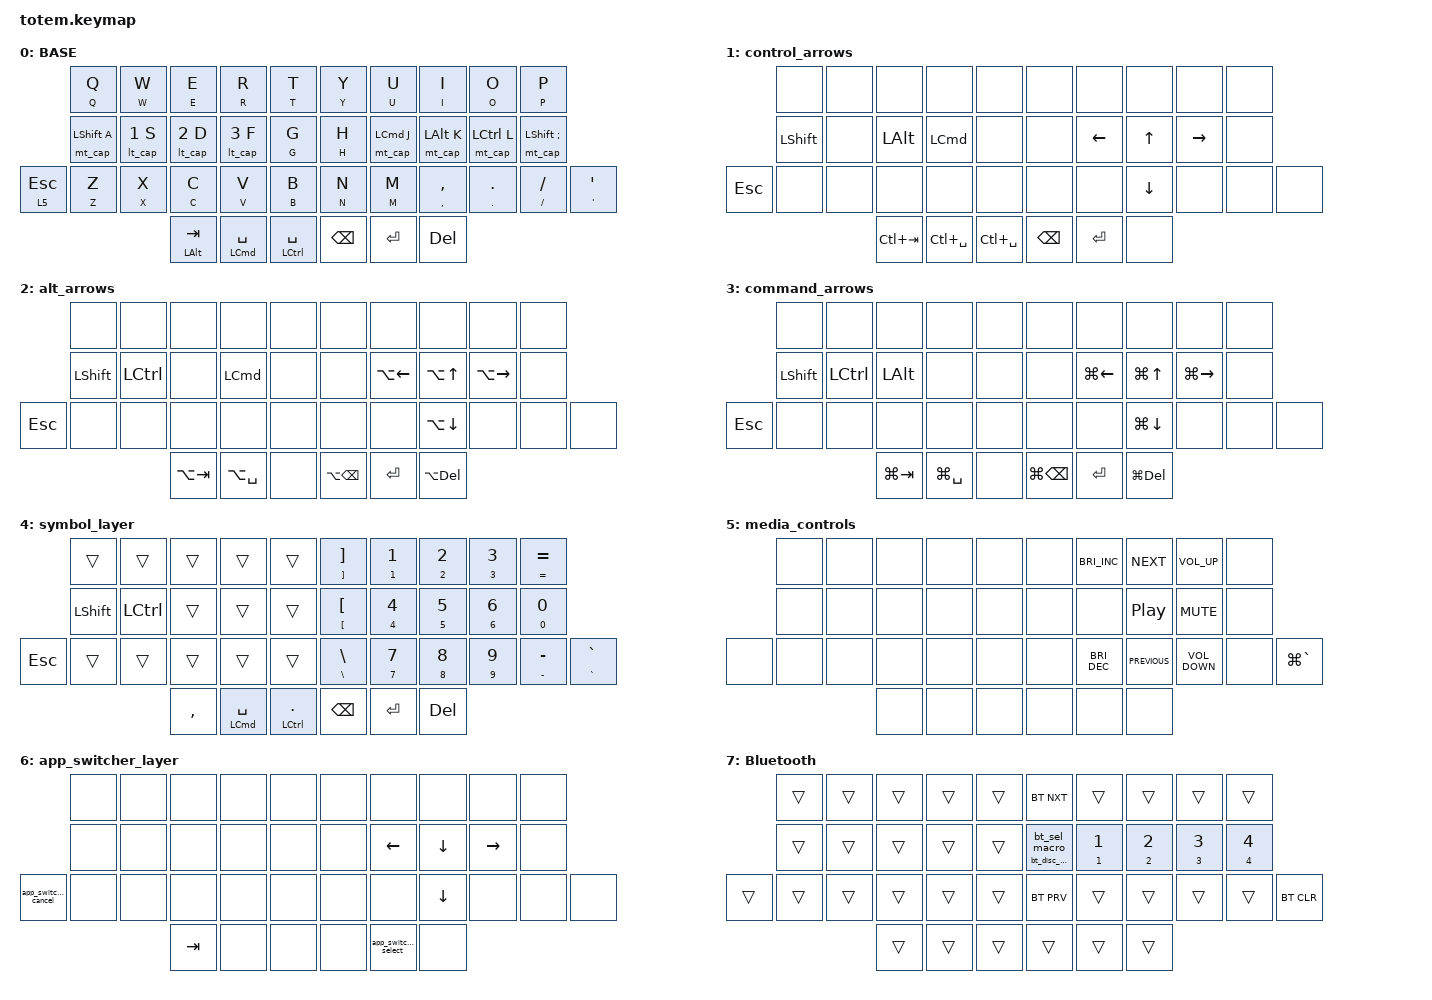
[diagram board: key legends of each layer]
//
//                                                        ▀▀▀▀▀     ▀▀▀▀▀          ▀▀█▀▀
//                                                        ▄▀▀▀▄  ▄  ▄▀▀▀▄  ▄  ▄▀▀▀▄  █  ▄▀▀▀▄
//                                                        █   █  █  █   █  █  █   █  █  █   █
//                                                         ▀▀▀   █   ▀▀▀   █   ▀▀▀   ▀   ▀▀▀
//                                                               █      ▄▄▄█▄▄▄    █   █  
//                                                               ▀      █  █  █     █▄█
//                                                             ▀▀▀▀▀    █  █  █      ▀
//                                                                      ▀  ▀  ▀
//
// ▄▄▄▄▄▄▄▄▄▄▄▄▄▄▄▄▄▄▄▄▄▄▄▄▄▄▄▄▄▄▄▄▄▄▄▄▄▄▄▄▄▄▄▄▄▄▄▄▄▄▄▄▄▄▄▄▄▄▄▄▄▄▄▄▄▄▄▄▄▄▄▄▄▄▄▄▄▄▄▄▄▄▄▄▄▄▄▄▄▄▄▄▄▄▄▄▄▄▄▄▄▄▄▄▄▄▄▄▄▄▄▄▄▄▄▄▄▄▄▄▄▄▄▄▄▄▄▄▄▄▄▄▄▄▄▄▄▄▄▄▄▄▄▄▄▄▄▄▄

#include <behaviors.dtsi>
#include <dt-bindings/zmk/bt.h>
#include <dt-bindings/zmk/keys.h>

#define BASE 0
#define NAV  1
#define SYM  2
#define ADJ  3
#define TVP1 4
#define TVP2 5

&mt {
    quick-tap-ms = <100>;
    global-quick-tap;
    flavor = "tap-preferred";
    tapping-term-ms = <170>;
};

/ {
    combos {
        compatible = "zmk,combos";

        space_hold {
            bindings = <&kp SPACE>;
            key-positions = <22 23>;
        };

        symbol_layer {
            bindings = <&mo 4>;
            key-positions = <12 13>;
        };

        vscode_search {
            bindings = <&vscode_search>;
            key-positions = <21 22>;
        };

        mission_control {
            bindings = <&kp LC(UP_ARROW)>;
            key-positions = <22 23 24>;
        };

        app_switcher {
            bindings = <&app_switcher_open>;
            key-positions = <27 28 29>;
        };

        vs_code_rename {
            bindings = <&vs_code_rename>;
            key-positions = <0 1>;
        };

        emoji {
            bindings = <&emoji>;
            key-positions = <21 22 23 24>;
        };

        bt_layer {
            bindings = <&mo 7>;
            key-positions = <24 25>;
        };
    };

    macros {
        vscode_search: vscode_search {
            compatible = "zmk,behavior-macro";
            #binding-cells = <0>;
            bindings = <&kp LEFT_SHIFT &kp LEFT_SHIFT>;
            label = "VSCODE_SEARCH";
        };

        app_switcher_open: app_toggle {
            compatible = "zmk,behavior-macro";
            #binding-cells = <0>;
            bindings = <&kt LEFT_COMMAND &kp TAB &tog 6>;
            label = "APP_TOGGLE";
        };

        app_switcher_select: app_switcher_select {
            compatible = "zmk,behavior-macro";
            #binding-cells = <0>;
            bindings = <&kt LEFT_COMMAND &tog 6>;
            label = "APP_SWITCHER_SELECT";
        };

        app_switcher_cancel: app_switcher_cancel {
            compatible = "zmk,behavior-macro";
            #binding-cells = <0>;
            bindings = <&kp ESCAPE &kt LEFT_COMMAND &tog 6>;
            label = "APP_SWITCHER_CANCEL";
        };

        shift: shift {
            compatible = "zmk,behavior-macro-one-param";
            #binding-cells = <1>;
            bindings =
                <&macro_press>,
                <&kp LEFT_SHIFT>,
                <&macro_tap>,
                <&macro_param_1to1 &kp MACRO_PLACEHOLDER>,
                <&macro_release>,
                <&kp LEFT_SHIFT>;

            label = "SHIFT";
        };

        vs_code_rename: vs_code_rename {
            compatible = "zmk,behavior-macro";
            #binding-cells = <0>;
            bindings = <&kp LS(F6)>;
            label = "VS_CODE_RENAME";
        };

        emoji: emoji {
            compatible = "zmk,behavior-macro";
            #binding-cells = <0>;
            bindings = <&kp LC(LG(SPACE))>;
            label = "EMOJI";
        };

        bt_sel_macro: bt_sel_macro {
            compatible = "zmk,behavior-macro-one-param";
            #binding-cells = <1>;
            bindings = <&macro_param_1to2 &bt BT_SEL MACRO_PLACEHOLDER>;
            label = "BT_SEL_MACRO";
        };

        bt_disc_macro: bt_disc_macro {
            compatible = "zmk,behavior-macro-one-param";
            #binding-cells = <1>;
            bindings = <&macro_param_1to2 &bt BT_DISC MACRO_PLACEHOLDER>;
            label = "BT_DISC_MACRO";
        };
    };

    behaviors {
        as_ht: autoshift_hold_tap {
            compatible = "zmk,behavior-hold-tap";
            label = "AUTOSHIFT_HOLD_TAP";
            bindings = <&shift>, <&kp>;

            #binding-cells = <2>;
            tapping-term-ms = <170>;
            flavor = "tap-preferred";
        };

        bt_hold_tap: bt_hold_tap {
            compatible = "zmk,behavior-hold-tap";
            label = "BT_HOLD_TAP";
            bindings = <&bt_disc_macro>, <&bt_sel_macro>;

            #binding-cells = <2>;
            tapping-term-ms = <300>;
            flavor = "tap-preferred";
        };

        mt_cap: mod_tap_cap {
            compatible = "zmk,behavior-hold-tap-long";
            // hold: modifier, tap: letter, long hold: capital letter
            bindings = <&kp>, <&kp>, <&shift>;

            #binding-cells = <2>;
            tapping-term-ms = <170>;
            long-hold-ms = <400>;
            quick-tap-ms = <100>;
            flavor = "tap-preferred";
        };

        lt_cap: layer_tap_cap {
            compatible = "zmk,behavior-hold-tap-long";
            // hold: layer, tap: letter, long hold: capital letter
            bindings = <&mo>, <&kp>, <&shift>;

            #binding-cells = <2>;
            tapping-term-ms = <170>;
            long-hold-ms = <400>;
            quick-tap-ms = <100>;
            flavor = "tap-preferred";
        };
    };

    keymap {
        compatible = "zmk,keymap";

        // ▄▄▄▄▄▄▄▄▄▄▄▄▄▄▄▄▄▄▄▄▄▄▄▄▄▄▄▄▄▄▄▄▄▄▄▄▄▄▄▄▄▄▄▄▄▄▄▄▄▄▄▄▄▄▄▄▄▄▄▄▄▄▄▄▄▄▄▄▄▄▄▄▄▄▄▄▄▄▄▄▄▄▄▄▄▄▄▄▄▄▄▄▄▄▄▄▄▄▄▄▄▄▄▄▄▄▄▄▄▄▄▄▄▄▄▄▄▄▄▄▄▄▄▄▄▄▄▄▄▄▄▄▄▄▄▄▄▄▄▄▄▄▄▄▄▄▄▄▄

        base_layer {
            // ┏━━━━━━━━━━━━━━━━━━━━━━━━━━━━━━━━━━━━━━━┓

            label = "BASE";

            // ┗━━━━━━━━━━━━━━━━━━━━━━━━━━━━━━━━━━━━━━━┛
            //             ┏━━━━━━━━━━━┳━━━━━━━━━━━┳━━━━━━━━━━━┳━━━━━━━━━━━┳━━━━━━━━━━━┓   ┏━━━━━━━━━━━┳━━━━━━━━━━━┳━━━━━━━━━━━┳━━━━━━━━━━━┳━━━━━━━━━━━┓
            //             ┃     Q     ┃     W     ┃     F     ┃     P     ┃     G     ┃   ┃     J     ┃     L     ┃     U     ┃     Y     ┃     ;     ┃
            //             ┣━━━━━━━━━━━╋━━━━━━━━━━━╋━━━━━━━━━━━╋━━━━━━━━━━━╋━━━━━━━━━━━┫   ┣━━━━━━━━━━━╋━━━━━━━━━━━╋━━━━━━━━━━━╋━━━━━━━━━━━╋━━━━━━━━━━━┫
            //             ┃     A     ┃     R     ┃     S     ┃     T     ┃     D     ┃   ┃     H     ┃     N     ┃     E     ┃     I     ┃     O     ┃
            // ┏━━━━━━━━━━━╋━━━━━━━━━━━╋━━━━━━━━━━━╋━━━━━━━━━━━╋━━━━━━━━━━━╋━━━━━━━━━━━┫   ┣━━━━━━━━━━━╋━━━━━━━━━━━╋━━━━━━━━━━━╋━━━━━━━━━━━╋━━━━━━━━━━━╋━━━━━━━━━━━┓
            // ┃     Q     ┃     Z     ┃     X     ┃     C     ┃     V     ┃     B     ┃   ┃     K     ┃     M     ┃     ,     ┃     .     ┃     /     ┃     \     ┃
            // ┗━━━━━━━━━━━┻━━━━━━━━━━━┻━━━━━━━━━━━╋━━━━━━━━━━━╋━━━━━━━━━━━╋━━━━━━━━━━━┫   ┣━━━━━━━━━━━╋━━━━━━━━━━━╋━━━━━━━━━━━╋━━━━━━━━━━━┻━━━━━━━━━━━┻━━━━━━━━━━━┛
            //                                     ┃    DEL    ┃    TAB    ┃    SPC    ┃   ┃   ENTER   ┃           ┃   BSPC    ┃
            //                                     ┗━━━━━━━━━━━┻━━━━━━━━━━━┻━━━━━━━━━━━┛   ┗━━━━━━━━━━━┻━━━━━━━━━━━┻━━━━━━━━━━━┛

            bindings = <
              &as_ht Q Q        &as_ht W W  &as_ht E E        &as_ht R R              &as_ht T T                &as_ht Y Y     &as_ht U U          &as_ht I I          &as_ht O O          &as_ht P P
              &mt_cap LEFT_SHIFT A  &lt_cap 1 S  &lt_cap 2 D  &lt_cap 3 F  &as_ht G G  &as_ht H H  &mt_cap LEFT_COMMAND J  &mt_cap LEFT_ALT K  &mt_cap LEFT_CONTROL L  &mt_cap LEFT_SHIFT SEMICOLON
&lt 5 ESCAPE  &as_ht Z Z        &as_ht X X  &as_ht C C        &as_ht V V              &as_ht B B                &as_ht N N     &as_ht M M          &as_ht COMMA COMMA  &as_ht DOT DOT      &as_ht FSLH FSLH          &as_ht SINGLE_QUOTE SINGLE_QUOTE
                                            &mt LEFT_ALT TAB  &mt LEFT_COMMAND SPACE  &mt LEFT_CONTROL SPACE    &kp BACKSPACE  &kp ENTER           &kp DELETE
            >;
        };

        control_arrows {
            bindings = <
         &none           &none  &none         &none             &none            &none          &none           &none           &none            &none
         &kp LEFT_SHIFT  &none  &kp LEFT_ALT  &kp LEFT_COMMAND  &none            &none          &kp LEFT_ARROW  &kp UP_ARROW    &kp RIGHT_ARROW  &none
&kp ESC  &none           &none  &none         &none             &none            &none          &none           &kp DOWN_ARROW  &none            &none  &none
                                &kp LC(TAB)   &kp LC(SPACE)     &kp LC(SPACE)    &kp BACKSPACE  &kp ENTER       &none
            >;
        };

        alt_arrows {
            bindings = <
         &none           &none             &none        &none             &none    &none              &none               &none               &none                &none
         &kp LEFT_SHIFT  &kp LEFT_CONTROL  &none        &kp LEFT_COMMAND  &none    &none              &kp LA(LEFT_ARROW)  &kp LA(UP_ARROW)    &kp LA(RIGHT_ARROW)  &none
&kp ESC  &none           &none             &none        &none             &none    &none              &none               &kp LA(DOWN_ARROW)  &none                &none  &none
                                           &kp LA(TAB)  &kp LA(SPACE)     &none    &kp LA(BACKSPACE)  &kp ENTER           &kp LA(DELETE)
            >;
        };

        command_arrows {
            bindings = <
         &none           &none             &none         &none          &none    &none              &none               &none               &none                &none
         &kp LEFT_SHIFT  &kp LEFT_CONTROL  &kp LEFT_ALT  &none          &none    &none              &kp LG(LEFT_ARROW)  &kp LG(UP_ARROW)    &kp LG(RIGHT_ARROW)  &none
&kp ESC  &none           &none             &none         &none          &none    &none              &none               &kp LG(DOWN_ARROW)  &none                &none  &none
                                           &kp LG(TAB)   &kp LG(SPACE)  &none    &kp LG(BACKSPACE)  &kp ENTER           &kp LG(DELETE)
            >;
        };

        symbol_layer {
            bindings = <
         &trans          &trans            &trans     &trans                  &trans                     &as_ht RBKT RIGHT_BRACKET  &as_ht NUMBER_1 NUMBER_1  &as_ht NUMBER_2 NUMBER_2  &as_ht NUMBER_3 NUMBER_3  &as_ht EQUAL EQUAL
         &kp LEFT_SHIFT  &kp LEFT_CONTROL  &trans     &trans                  &trans                     &as_ht LBKT LEFT_BRACKET   &as_ht NUMBER_4 NUMBER_4  &as_ht NUMBER_5 NUMBER_5  &as_ht NUMBER_6 NUMBER_6  &as_ht NUMBER_0 NUMBER_0
&kp ESC  &trans          &trans            &trans     &trans                  &trans                     &as_ht BSLH BSLH           &as_ht NUMBER_7 NUMBER_7  &as_ht NUMBER_8 NUMBER_8  &as_ht NUMBER_9 NUMBER_9  &as_ht MINUS MINUS        &as_ht GRAVE GRAVE
                                           &kp COMMA  &mt LEFT_COMMAND SPACE  &mt LEFT_CONTROL PERIOD    &kp BACKSPACE              &kp ENTER                 &kp DELETE
            >;
        };

        media_controls {
            bindings = <
       &none  &none  &none  &none  &none    &none  &kp C_BRIGHTNESS_INC  &kp C_NEXT        &kp C_VOLUME_UP    &none
       &none  &none  &none  &none  &none    &none  &none                 &kp C_PLAY_PAUSE  &kp C_MUTE         &none
&none  &none  &none  &none  &none  &none    &none  &kp C_BRIGHTNESS_DEC  &kp C_PREVIOUS    &kp C_VOLUME_DOWN  &none  &kp LG(GRAVE)
                     &none  &none  &none    &none  &none                 &none
            >;
        };

        app_switcher_layer {
            bindings = <
                      &none  &none  &none    &none  &none    &none  &none                 &none     &none      &none
                      &none  &none  &none    &none  &none    &none  &kp LEFT              &kp DOWN  &kp RIGHT  &none
&app_switcher_cancel  &none  &none  &none    &none  &none    &none  &none                 &kp DOWN  &none      &none  &none
                                    &kp TAB  &none  &none    &none  &app_switcher_select  &none
            >;
        };

        Bluetooth {
            bindings = <
        &trans  &trans  &trans  &trans  &trans    &bt BT_NXT        &trans            &trans            &trans            &trans
        &trans  &trans  &trans  &trans  &trans    &bt_hold_tap 0 0  &bt_hold_tap 1 1  &bt_hold_tap 2 2  &bt_hold_tap 3 3  &bt_hold_tap 4 4
&trans  &trans  &trans  &trans  &trans  &trans    &bt BT_PRV        &trans            &trans            &trans            &trans            &bt BT_CLR
                        &trans  &trans  &trans    &trans            &trans            &trans
            >;
        };
    };
};
